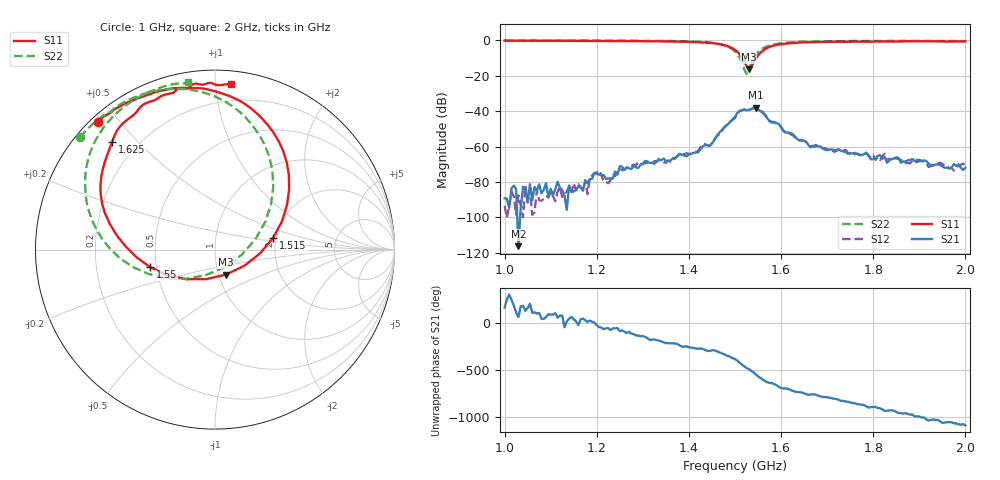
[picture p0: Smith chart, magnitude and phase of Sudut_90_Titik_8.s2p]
# Hz S RI R 50
! CMT, C1220, 16058040, 17.2.0/1
! Date: 14/08/2018 12:05:24
! Data: Format (Calibration Info)
! Freq  S11: Re/Im (F2)  S21: Re/Im (F2)  S12: Re/Im (F2)  S22: Re/Im (F2)
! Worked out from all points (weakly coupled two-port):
!   201 points, 1 GHz to 2 GHz, reference 50 ohm
!   highest |S21| = -38.07 dB at 1.545 GHz (marker M1); lowest = -116.2 dB at 1.03 GHz (marker M2)
!   lowest |S11| = -16.4 dB at 1.53 GHz (marker M3), VSWR 1.36, Z = 54.2 - j15.5 ohm
!   |S11| at or under -10 dB: 1.516 GHz to 1.546 GHz (30.32 MHz wide, 1.98 % of centre)
!   |S22| runs from -19.0 to -0.2 dB; largest |S21 - S12| = 0.00055
!   S11 on the Smith chart (normalised r, x): 1 GHz: 0.02, +0.44; 1.515 GHz: 1.93, +0.28; 1.55 GHz: 0.46, -0.11; 1.625 GHz: 0.11, +0.42; 2 GHz: 0.09, +1.09
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1e9  -0.6542 0.71  -3.25e-05 1.24e-05  8.31e-07 -2.13e-05  -0.7535 0.6258
1.03e9  -0.6311 0.7317  7.93e-07 1.34e-06  3.23e-05 2.7e-05  -0.7331 0.6485
1.17e9  -0.4859 0.8214  4.16e-05 3.99e-05  4.91e-05 3.08e-05  -0.6162 0.7515
1.205e9  -0.4405 0.8385  0.000112 -0.000118  0.000149 -0.000152  -0.58 0.7659
1.225e9  -0.4165 0.848  6.61e-05 -0.000106  4.89e-05 -7.74e-05  -0.566 0.7839
1.245e9  -0.3775 0.861  8.9e-05 -0.000136  5.64e-05 -0.000166  -0.5422 0.8007
1.25e9  -0.369 0.8641  4.13e-06 -0.00028  6.54e-05 -0.000233  -0.5355 0.8048
1.335e9  -0.2291 0.8993  -0.000441 7.22e-05  -0.000402 8.08e-05  -0.3996 0.8664
1.42e9  0.0358 0.8715  6.05e-05 0.000685  -1.74e-05 0.000744  -0.1408 0.8907
1.465e9  0.2616 0.7313  0.00158 0.00175  0.00153 0.00153  0.1308 0.7734
1.5e9  0.4131 0.3369  0.00624 -0.00292  0.00586 -0.00275  0.3245 0.3494
1.515e9  0.3235 0.0643  0.00124 -0.0103  0.00158 -0.0104  0.2248 0.0574
1.525e9  0.164 -0.0899  -0.00521 -0.0091  -0.00524 -0.00921  0.0551 -0.0973
1.53e9  0.0613 -0.1392  -0.00713 -0.00817  -0.00719 -0.00827  -0.0525 -0.1429
1.545e9  -0.2659 -0.1419  -0.0124 0.00157  -0.0123 0.00131  -0.3725 -0.1348
1.55e9  -0.3602 -0.0984  -0.00988 0.00519  -0.01 0.00479  -0.4573 -0.097
1.58e9  -0.6294 0.2585  0.000743 0.0047  0.000958 0.00485  -0.7032 0.2159
1.625e9  -0.5731 0.5996  0.00225 -3.86e-05  0.0021 1.03e-05  -0.7017 0.5199
1.67e9  -0.4607 0.7449  0.000778 -0.00062  0.0008 -0.000691  -0.6255 0.6735
1.835e9  -0.1601 0.8985  -0.000358 0.000194  -0.000401 0.000219  -0.3751 0.8748
1.975e9  0.047 0.9186  0.000307 8.58e-05  0.000203 5.52e-05  -0.1783 0.9245
2e9  0.0865 0.9208  0.00025 -3.4e-05  0.000293 -7.82e-05  -0.1506 0.9337
